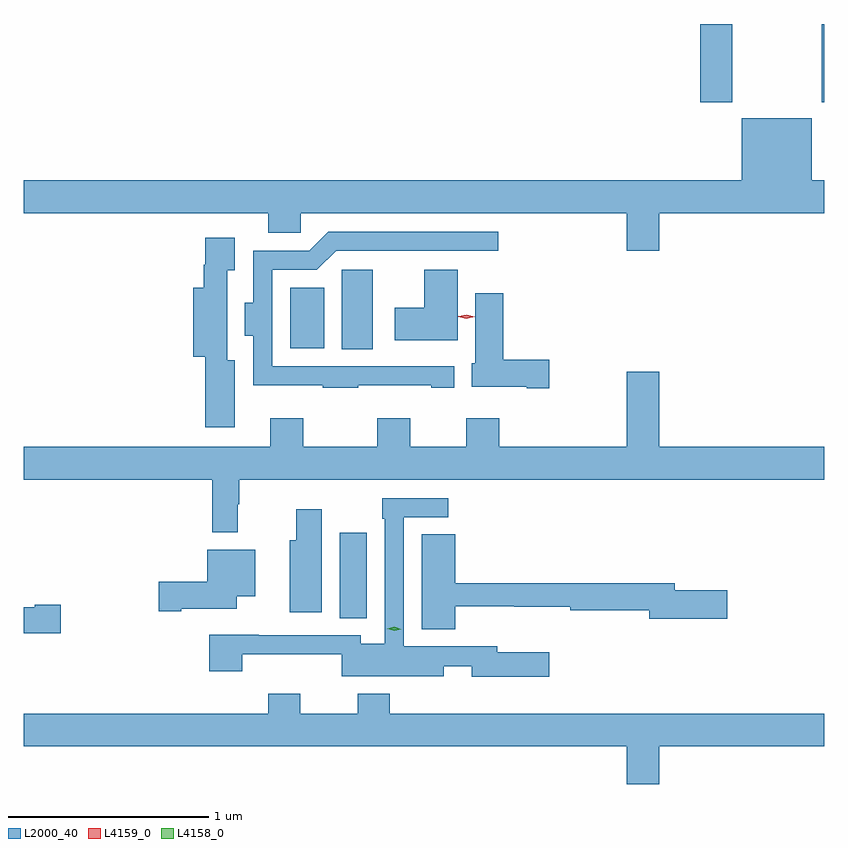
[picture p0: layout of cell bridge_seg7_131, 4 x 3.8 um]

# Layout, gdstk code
import gdstk
lib = gdstk.Library(unit=1e-6, precision=1e-09)
def R(c, l, rs):  # rectangles x0, y0, x1, y1
    for r in rs: c.add(gdstk.rectangle(r[:2], r[2:], *l))
def P(c, l, *ps):  # polygons
    for p in ps: c.add(gdstk.Polygon(p, *l))
L2000_40 = (2000, 40)
L4158_0 = (4158, 0)
L4159_0 = (4159, 0)

bridge_seg7_131 = lib.new_cell('bridge_seg7_131')
R(bridge_seg7_131, L2000_40, [(834.902,1078.513,835.039,1078.939), (834.914,1079.857,835.069,1080.252), (834.656,1079.861,834.826,1080.163), (836.705,1081.089,836.865,1081.481), (837.31,1081.089,837.324,1081.481)])
P(bridge_seg7_131, L2000_40, [(836.5,1080.536),(837.324,1080.536),(837.324,1080.7),(837.262,1080.7),(837.262,1081.009),(836.912,1081.009),(836.912,1080.7),(833.324,1080.7),(833.324,1080.536),(834.545,1080.536),(834.545,1080.438),(834.708,1080.438),(834.708,1080.536),(836.336,1080.536),(836.336,1080.348),(836.5,1080.348)],
  [(834.995,1079.675),(835.361,1079.675),(835.361,1079.664),(835.474,1079.664),(835.474,1079.772),(834.567,1079.772),(834.567,1080.252),(834.789,1080.252),(834.885,1080.348),(835.696,1080.348),(835.696,1080.444),(834.846,1080.444),(834.75,1080.348),(834.47,1080.348),(834.47,1080.088),(834.428,1080.088),(834.428,1079.924),(834.471,1079.924),(834.471,1079.675),(834.817,1079.675),(834.817,1079.664),(834.995,1079.664)],
  [(834.379,1079.8),(834.34,1079.8),(834.34,1080.251),(834.379,1080.251),(834.379,1080.412),(834.231,1080.412),(834.231,1080.279),(834.223,1080.279),(834.223,1080.163),(834.17,1080.163),(834.17,1079.819),(834.23,1079.819),(834.23,1079.466),(834.379,1079.466)],
  [(835.492,1080.253),(835.325,1080.253),(835.325,1080.064),(835.179,1080.064),(835.179,1079.9),(835.492,1079.9)],
  [(835.951,1079.804),(835.721,1079.804),(835.721,1080.136),(835.58,1080.136),(835.58,1079.787),(835.562,1079.787),(835.562,1079.669),(835.838,1079.669),(835.838,1079.662),(835.951,1079.662)],
  [(834.394,1079.081),(834.401,1079.081),(834.401,1079.204),(837.324,1079.204),(837.324,1079.368),(836.5,1079.368),(836.5,1079.743),(836.336,1079.743),(836.336,1079.368),(835.699,1079.368),(835.699,1079.512),(835.535,1079.512),(835.535,1079.368),(835.255,1079.368),(835.255,1079.512),(835.091,1079.512),(835.091,1079.368),(834.721,1079.368),(834.721,1079.512),(834.557,1079.512),(834.557,1079.368),(833.324,1079.368),(833.324,1079.204),(834.265,1079.204),(834.265,1078.941),(834.394,1078.941)],
  [(835.951,1078.342),(835.69,1078.342),(835.69,1078.371),(835.224,1078.371),(835.224,1079.016),(835.444,1079.016),(835.444,1079.112),(835.116,1079.112),(835.116,1079.009),(835.128,1079.009),(835.128,1078.384),(835.008,1078.384),(835.008,1078.428),(834.499,1078.428),(834.499,1078.429),(834.251,1078.429),(834.251,1078.248),(834.416,1078.248),(834.416,1078.331),(834.912,1078.331),(834.912,1078.223),(835.423,1078.223),(835.423,1078.273),(835.562,1078.273),(835.562,1078.22),(835.951,1078.22)],
  [(834.814,1079.056),(834.685,1079.056),(834.685,1078.903),(834.653,1078.903),(834.653,1078.542),(834.814,1078.542)],
  [(835.48,1078.571),(835.776,1078.571),(835.776,1078.57),(836.054,1078.57),(836.054,1078.552),(836.45,1078.552),(836.45,1078.51),(836.839,1078.51),(836.839,1078.652),(836.578,1078.652),(836.578,1078.688),(835.48,1078.688),(835.48,1078.931),(835.313,1078.931),(835.313,1078.457),(835.48,1078.457)],
  [(834.112,1078.559),(834.388,1078.559),(834.388,1078.622),(834.481,1078.622),(834.481,1078.855),(834.242,1078.855),(834.242,1078.694),(834,1078.694),(834,1078.547),(834.112,1078.547)],
  [(833.509,1078.58),(833.379,1078.58),(833.379,1078.567),(833.324,1078.567),(833.324,1078.438),(833.509,1078.438)],
  [(836.5,1077.872),(837.324,1077.872),(837.324,1078.036),(835.154,1078.036),(835.154,1078.135),(834.994,1078.135),(834.994,1078.036),(834.705,1078.036),(834.705,1078.135),(834.545,1078.135),(834.545,1078.036),(833.324,1078.036),(833.324,1077.872),(836.336,1077.872),(836.336,1077.684),(836.5,1077.684)])
P(bridge_seg7_131, L4158_0, [(835.176,1078.449),(835.141,1078.46),(835.141,1078.46),(835.141,1078.46),(835.176,1078.469),(835.21,1078.458),(835.211,1078.458),(835.21,1078.458)])
P(bridge_seg7_131, L4159_0, [(835.536,1080.009),(835.496,1080.019),(835.495,1080.02),(835.496,1080.02),(835.537,1080.029),(835.577,1080.018),(835.578,1080.018),(835.577,1080.018)])

lib.write_gds('bridge_seg7_131.gds')
